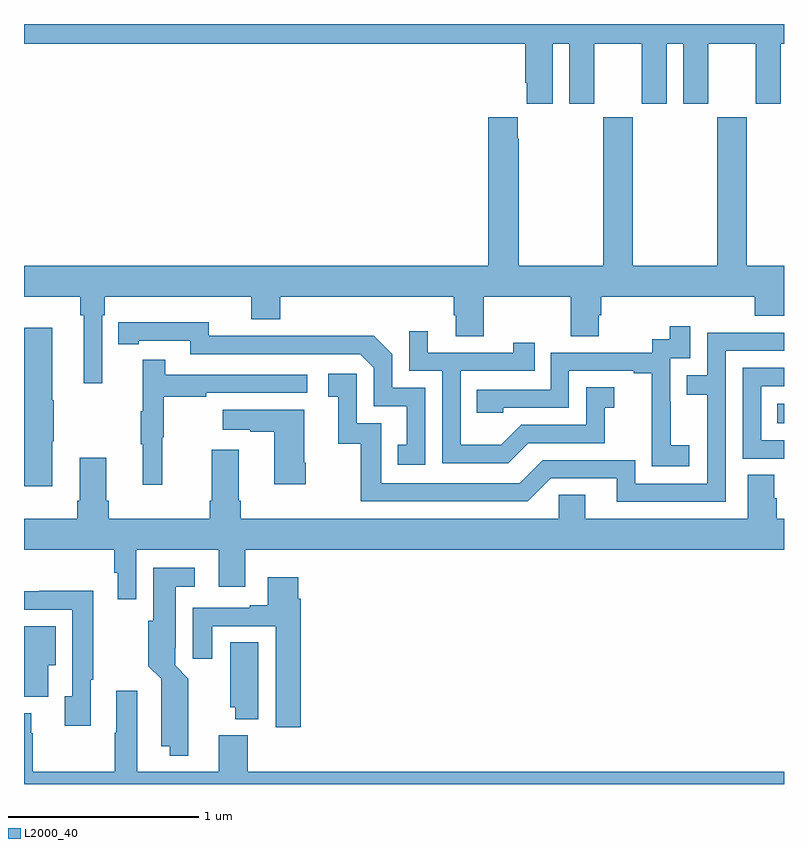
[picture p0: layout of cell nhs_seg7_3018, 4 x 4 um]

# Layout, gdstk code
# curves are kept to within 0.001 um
import gdstk
lib = gdstk.Library(unit=1e-6, precision=1e-09)
def R(c, l, rs):  # rectangles x0, y0, x1, y1
    for r in rs: c.add(gdstk.rectangle(r[:2], r[2:], *l))
def P(c, l, *ps):  # polygons
    for p in ps: c.add(gdstk.Polygon(p, *l))
L2000_40 = (2000, 40)

nhs_seg7_3018 = lib.new_cell('nhs_seg7_3018')
R(nhs_seg7_3018, L2000_40, [(306.964,1051.898,307,1052.002)])
P(nhs_seg7_3018, L2000_40, [(305.782,1053.896),(305.87,1053.896),(305.87,1053.579),(306.001,1053.579),(306.001,1053.896),(306.251,1053.896),(306.251,1053.579),(306.382,1053.579),(306.382,1053.896),(306.47,1053.896),(306.47,1053.579),(306.601,1053.579),(306.601,1053.896),(306.851,1053.896),(306.851,1053.579),(306.982,1053.579),(306.982,1053.896),(307,1053.896),(307,1054),(303,1054),(303,1053.896),(305.639,1053.896),(305.639,1053.691),(305.645,1053.691),(305.645,1053.579),(305.782,1053.579)],
  [(303,1052.564),(303.295,1052.564),(303.295,1052.468),(303.314,1052.468),(303.314,1052.109),(303.411,1052.109),(303.411,1052.468),(303.425,1052.468),(303.425,1052.564),(304.196,1052.564),(304.196,1052.447),(304.349,1052.447),(304.349,1052.564),(305.261,1052.564),(305.261,1052.466),(305.273,1052.466),(305.273,1052.356),(305.421,1052.356),(305.421,1052.564),(305.878,1052.564),(305.878,1052.356),(306.025,1052.356),(306.025,1052.466),(306.038,1052.466),(306.038,1052.564),(306.845,1052.564),(306.845,1052.465),(307,1052.465),(307,1052.728),(306.804,1052.728),(306.804,1053.508),(306.649,1053.508),(306.649,1052.728),(306.204,1052.728),(306.204,1053.508),(306.049,1053.508),(306.049,1052.728),(305.604,1052.728),(305.604,1053.395),(305.599,1053.395),(305.599,1053.508),(305.444,1053.508),(305.444,1052.728),(303,1052.728)],
  [(305.112,1052.085),(304.938,1052.085),(304.938,1052.262),(304.84,1052.36),(304.432,1052.36),(304.432,1052.358),(303.972,1052.358),(303.972,1052.431),(303.496,1052.43),(303.496,1052.314),(303.604,1052.314),(303.604,1052.334),(303.876,1052.334),(303.876,1052.262),(304.77,1052.262),(304.842,1052.19),(304.842,1051.989),(305.015,1051.989),(305.015,1051.785),(304.966,1051.785),(304.966,1051.68),(305.112,1051.68)],
  [(306.502,1051.783),(306.404,1051.783),(306.404,1052.012),(306.402,1052.012),(306.402,1052.241),(306.507,1052.241),(306.507,1052.41),(306.399,1052.41),(306.399,1052.34),(306.306,1052.34),(306.306,1052.271),(305.772,1052.271),(305.772,1052.076),(305.383,1052.076),(305.383,1051.953),(305.523,1051.953),(305.523,1051.98),(305.868,1051.98),(305.868,1052.175),(306.209,1052.175),(306.209,1052.163),(306.305,1052.163),(306.305,1051.879),(306.304,1051.879),(306.304,1051.673),(306.502,1051.673)],
  [(303.148,1051.803),(303.156,1051.803),(303.156,1052.021),(303.148,1052.021),(303.148,1052.401),(303,1052.401),(303,1051.566),(303.148,1051.566)],
  [(305.653,1051.794),(306.057,1051.794),(306.057,1051.979),(306.106,1051.979),(306.106,1052.089),(305.958,1052.089),(305.958,1051.89),(305.616,1051.89),(305.512,1051.786),(305.298,1051.786),(305.298,1052.175),(305.687,1052.175),(305.687,1052.323),(305.576,1052.323),(305.576,1052.271),(305.125,1052.271),(305.125,1052.383),(305.028,1052.383),(305.028,1052.175),(305.202,1052.175),(305.202,1051.689),(305.548,1051.689)],
  [(306.693,1052.28),(307,1052.28),(307,1052.376),(306.597,1052.376),(306.597,1052.151),(306.487,1052.151),(306.487,1052.05),(306.597,1052.05),(306.597,1051.581),(306.216,1051.581),(306.216,1051.704),(305.73,1051.704),(305.61,1051.584),(304.881,1051.584),(304.881,1051.899),(304.752,1051.899),(304.752,1052.158),(304.602,1052.158),(304.602,1052.037),(304.655,1052.037),(304.655,1051.791),(304.773,1051.791),(304.773,1051.488),(305.652,1051.488),(305.772,1051.608),(306.119,1051.608),(306.119,1051.485),(306.693,1051.485)],
  [(303.728,1051.824),(303.736,1051.824),(303.736,1052.038),(303.959,1052.038),(303.959,1052.058),(304.492,1052.058),(304.492,1052.154),(303.743,1052.154),(303.743,1052.233),(303.626,1052.233),(303.626,1051.961),(303.615,1051.961),(303.615,1051.787),(303.626,1051.787),(303.626,1051.575),(303.728,1051.575)],
  [(307,1051.809),(306.879,1051.809),(306.879,1052.094),(307,1052.094),(307,1052.19),(306.783,1052.19),(306.783,1051.713),(307,1051.713)],
  [(304.482,1051.69),(304.474,1051.69),(304.474,1051.969),(304.047,1051.969),(304.047,1051.865),(304.19,1051.865),(304.19,1051.855),(304.316,1051.855),(304.316,1051.578),(304.482,1051.578)],
  [(303.591,1051.232),(304.025,1051.232),(304.025,1051.038),(304.165,1051.038),(304.165,1051.232),(307,1051.232),(307,1051.396),(306.962,1051.396),(306.962,1051.505),(306.948,1051.505),(306.948,1051.628),(306.809,1051.628),(306.809,1051.396),(305.953,1051.396),(305.953,1051.523),(305.814,1051.523),(305.814,1051.396),(304.142,1051.396),(304.142,1051.492),(304.129,1051.492),(304.129,1051.759),(303.989,1051.759),(303.989,1051.492),(303.977,1051.492),(303.977,1051.396),(303.446,1051.396),(303.446,1051.492),(303.433,1051.492),(303.433,1051.717),(303.293,1051.717),(303.293,1051.492),(303.281,1051.492),(303.281,1051.396),(303,1051.396),(303,1051.232),(303.475,1051.232),(303.475,1051.111),(303.494,1051.111),(303.494,1050.972),(303.591,1050.972)],
  [(303.864,1050.452),(303.865,1050.554),(303.795,1050.624),(303.795,1050.718),(303.799,1050.718),(303.799,1051.037),(303.898,1051.037),(303.898,1051.138),(303.68,1051.138),(303.68,1050.858),(303.655,1050.858),(303.655,1050.621),(303.722,1050.554),(303.722,1050.2),(303.767,1050.2),(303.767,1050.149),(303.864,1050.149)],
  [(304.457,1050.974),(304.444,1050.974),(304.444,1051.087),(304.283,1051.087),(304.283,1050.94),(304.187,1050.94),(304.187,1050.927),(303.887,1050.927),(303.887,1050.66),(303.991,1050.66),(303.991,1050.831),(304.325,1050.831),(304.325,1050.3),(304.457,1050.3)],
  [(303.352,1050.55),(303.364,1050.55),(303.364,1051.016),(303.079,1051.016),(303.079,1051.014),(303,1051.014),(303,1050.918),(303.255,1050.918),(303.255,1050.462),(303.215,1050.462),(303.215,1050.306),(303.352,1050.306)],
  [(303.127,1050.626),(303.166,1050.626),(303.166,1050.829),(303,1050.829),(303,1050.458),(303.127,1050.458)],
  [(304.234,1050.746),(304.085,1050.746),(304.085,1050.405),(304.112,1050.405),(304.112,1050.341),(304.234,1050.341)],
  [(303.485,1050.49),(303.485,1050.269),(303.478,1050.269),(303.478,1050.064),(303.045,1050.064),(303.045,1050.266),(303.037,1050.266),(303.037,1050.373),(303,1050.373),(303,1050),(307,1050),(307,1050.064),(304.178,1050.064),(304.178,1050.256),(304.025,1050.256),(304.025,1050.064),(303.595,1050.064),(303.595,1050.49)])

lib.write_gds('nhs_seg7_3018.gds')
